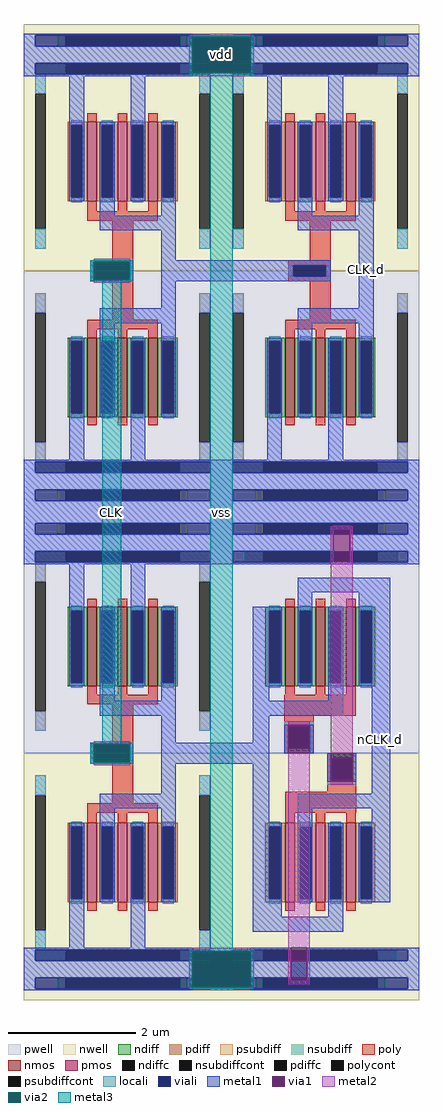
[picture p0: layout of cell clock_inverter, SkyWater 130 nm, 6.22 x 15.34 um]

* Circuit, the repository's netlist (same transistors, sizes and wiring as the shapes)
**.subckt clock_inverter CLK vdd vss nCLK_d CLK_d
*.ipin CLK
*.iopin vdd
*.iopin vss
*.opin nCLK_d
*.opin CLK_d
x5 vdd nCLK_d net1 vss trans_gate
x1 vdd CLK_d net2 vss inverter_cp_x1
x2 vdd net2 CLK vss inverter_cp_x1
x3 vdd net1 CLK vss inverter_cp_x1
**.ends

* expanding   symbol:  trans_gate.sym # of pins=4
* sym_path: /home/dhernando/caravel_analog_fulgor/xschem/trans_gate.sym
* sch_path: /home/dhernando/caravel_analog_fulgor/xschem/trans_gate.sch
.subckt trans_gate  vdd out in vss
*.iopin vss
*.ipin in
*.opin out
*.iopin vdd
XM2 out vss in vdd sky130_fd_pr__pfet_01v8 L=0.15 W=1.25 nf=1 ad='int((nf+1)/2) * W/nf * 0.29' as='int((nf+2)/2) * W/nf * 0.29'
+ pd='2*int((nf+1)/2) * (W/nf + 0.29)' ps='2*int((nf+2)/2) * (W/nf + 0.29)' nrd='0.29 / W' nrs='0.29 / W'
+ sa=0 sb=0 sd=0 mult=3 m=3 
XM1 out vdd in vss sky130_fd_pr__nfet_01v8 L=0.15 W=1.25 nf=1 ad='int((nf+1)/2) * W/nf * 0.29' as='int((nf+2)/2) * W/nf * 0.29'
+ pd='2*int((nf+1)/2) * (W/nf + 0.29)' ps='2*int((nf+2)/2) * (W/nf + 0.29)' nrd='0.29 / W' nrs='0.29 / W'
+ sa=0 sb=0 sd=0 mult=3 m=3 
.ends


* expanding   symbol:  inverter_cp_x1.sym # of pins=4
* sym_path: /home/dhernando/caravel_analog_fulgor/xschem/inverter_cp_x1.sym
* sch_path: /home/dhernando/caravel_analog_fulgor/xschem/inverter_cp_x1.sch
.subckt inverter_cp_x1  vdd out in vss
*.iopin vss
*.ipin in
*.opin out
*.iopin vdd
XM2 out in vdd vdd sky130_fd_pr__pfet_01v8 L=0.15 W=1.25 nf=1 ad='int((nf+1)/2) * W/nf * 0.29' as='int((nf+2)/2) * W/nf * 0.29'
+ pd='2*int((nf+1)/2) * (W/nf + 0.29)' ps='2*int((nf+2)/2) * (W/nf + 0.29)' nrd='0.29 / W' nrs='0.29 / W'
+ sa=0 sb=0 sd=0 mult=3 m=3 
XM1 out in vss vss sky130_fd_pr__nfet_01v8 L=0.15 W=1.25 nf=1 ad='int((nf+1)/2) * W/nf * 0.29' as='int((nf+2)/2) * W/nf * 0.29'
+ pd='2*int((nf+1)/2) * (W/nf + 0.29)' ps='2*int((nf+2)/2) * (W/nf + 0.29)' nrd='0.29 / W' nrs='0.29 / W'
+ sa=0 sb=0 sd=0 mult=3 m=3 
.ends

** flattened .save nodes
.end

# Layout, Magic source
magic
tech sky130A
magscale 1 2
<< metal1 >>
rect 520 2998 530 3028
rect 0 2944 530 2998
rect 520 2914 530 2944
rect 714 2998 724 3028
rect 714 2944 1244 2998
rect 714 2914 724 2944
rect 210 2264 220 2320
rect 334 2264 344 2320
rect 442 2259 848 2325
rect 1054 2070 1100 2523
rect 0 1504 1244 1564
rect 221 804 226 809
rect 210 748 220 804
rect 334 748 344 804
rect 221 743 226 748
rect 478 743 720 809
rect 1094 307 1152 1328
rect 520 124 530 154
rect 0 70 530 124
rect 520 40 530 70
rect 714 124 724 154
rect 714 70 1244 124
rect 714 40 724 70
<< via1 >>
rect 530 2914 714 3028
rect 220 2264 334 2320
rect 220 748 334 804
rect 530 40 714 154
<< metal2 >>
rect 530 3028 714 3038
rect 530 2904 714 2914
rect 220 2320 334 2330
rect 220 2254 334 2264
rect 220 804 334 814
rect 220 738 334 748
rect 530 154 714 164
rect 530 30 714 40
<< via2 >>
rect 530 2914 714 3028
rect 220 2264 334 2320
rect 220 748 334 804
rect 530 40 714 154
<< metal3 >>
rect 520 3028 724 3033
rect 520 2914 530 3028
rect 714 2914 724 3028
rect 520 2909 724 2914
rect 210 2320 344 2325
rect 210 2264 220 2320
rect 334 2264 344 2320
rect 210 2259 344 2264
rect 247 809 307 2259
rect 210 804 344 809
rect 210 748 220 804
rect 334 748 344 804
rect 210 743 344 748
rect 586 159 658 2909
rect 520 154 724 159
rect 520 40 530 154
rect 714 40 724 154
rect 520 35 724 40
use trans_gate  trans_gate_0
transform 1 0 675 0 -1 723
box -53 -811 569 723
use inverter_cp_x1  inverter_cp_x1_1
transform 1 0 0 0 1 2292
box 0 -758 622 776
use inverter_cp_x1  inverter_cp_x1_2
transform 1 0 622 0 1 2292
box 0 -758 622 776
use inverter_cp_x1  inverter_cp_x1_0
transform 1 0 0 0 -1 776
box 0 -758 622 776
<< labels >>
rlabel metal1 0 1504 1244 1564 1 vss
rlabel metal1 0 2944 1244 2998 1 vdd
rlabel metal3 247 1504 307 1564 1 CLK
rlabel metal1 1054 2070 1100 2523 1 CLK_d
rlabel metal1 1094 307 1152 1328 1 nCLK_d
<< end >>

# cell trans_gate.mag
magic
tech sky130A
magscale 1 2
<< nwell >>
rect -53 635 569 723
rect -53 -53 569 -47
<< pwell >>
rect -53 -64 569 -53
rect -53 -811 569 -723
<< psubdiff >>
rect 55 -775 79 -741
rect 437 -775 461 -741
<< nsubdiff >>
rect 55 653 79 687
rect 437 653 461 687
<< psubdiffcont >>
rect 79 -775 437 -741
<< nsubdiffcont >>
rect 79 653 437 687
<< poly >>
rect 147 69 371 135
rect 279 31 371 69
rect 279 -37 291 31
rect 359 -37 371 31
rect 279 -53 371 -37
rect 145 -69 237 -53
rect 145 -137 157 -69
rect 225 -137 237 -69
rect 145 -171 237 -137
rect 145 -237 369 -171
<< polycont >>
rect 291 -37 359 31
rect 157 -137 225 -69
<< locali >>
rect 279 31 371 47
rect 279 -37 291 31
rect 359 -37 371 31
rect 279 -53 371 -37
rect 145 -69 237 -53
rect 145 -137 157 -69
rect 225 -137 237 -69
rect 145 -153 237 -137
<< viali >>
rect -17 653 79 687
rect 79 653 437 687
rect 437 653 533 687
rect -17 565 533 599
rect 291 -37 359 31
rect 157 -137 225 -69
rect -17 -687 533 -653
rect -17 -775 79 -741
rect 79 -775 437 -741
rect 437 -775 533 -741
<< metal1 >>
rect -53 687 569 693
rect -53 653 -17 687
rect 533 653 569 687
rect -53 599 165 653
rect 217 599 569 653
rect -53 565 -17 599
rect 533 565 569 599
rect -53 559 165 565
rect 217 559 569 565
rect 45 462 329 508
rect 45 404 137 462
rect 283 404 329 462
rect 45 -171 97 404
rect 425 183 477 416
rect 187 120 233 178
rect 419 120 477 183
rect 187 74 477 120
rect 279 -53 291 37
rect 359 -53 371 37
rect 145 -143 157 -53
rect 225 -143 237 -53
rect 45 -217 329 -171
rect 45 -341 97 -217
rect 283 -263 329 -217
rect 45 -513 91 -341
rect 419 -343 477 74
rect 425 -455 477 -343
rect 419 -501 477 -455
rect 187 -559 233 -513
rect 379 -559 477 -501
rect 187 -605 477 -559
rect -53 -653 569 -647
rect -53 -687 -17 -653
rect 533 -687 569 -653
rect -53 -741 299 -687
rect 351 -741 569 -687
rect -53 -775 -17 -741
rect 533 -775 569 -741
rect -53 -781 569 -775
<< via1 >>
rect 165 653 217 663
rect 165 599 217 653
rect 165 565 217 599
rect 165 559 217 565
rect 291 31 359 37
rect 291 -37 359 31
rect 291 -53 359 -37
rect 157 -69 225 -53
rect 157 -137 225 -69
rect 157 -143 225 -137
rect 299 -687 351 -653
rect 299 -741 351 -687
rect 299 -757 351 -741
<< metal2 >>
rect 157 663 225 673
rect 157 559 165 663
rect 217 559 225 663
rect 157 -53 225 559
rect 157 -153 225 -143
rect 291 37 359 47
rect 291 -653 359 -53
rect 291 -757 299 -653
rect 351 -757 359 -653
rect 291 -766 359 -757
rect 299 -767 351 -766
use sky130_fd_pr__pfet_01v8_4798MH  sky130_fd_pr__pfet_01v8_4798MH_0
transform 1 0 258 0 1 291
box -311 -338 311 344
use sky130_fd_pr__nfet_01v8_BHR94T  sky130_fd_pr__nfet_01v8_BHR94T_0
transform 1 0 258 0 1 -388
box -311 -335 311 324
<< labels >>
rlabel metal1 217 599 569 653 1 vdd
rlabel metal1 -53 -741 299 -687 1 vss
rlabel space 419 -605 477 416 1 out
rlabel space 45 -513 97 508 1 in
<< end >>

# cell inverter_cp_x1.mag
magic
tech sky130A
magscale 1 2
<< nwell >>
rect 0 688 622 776
<< pwell >>
rect 2 -669 622 -626
rect 0 -721 622 -669
rect 2 -722 622 -721
rect 0 -758 622 -722
<< psubdiff >>
rect 108 -722 132 -688
rect 490 -722 514 -688
<< nsubdiff >>
rect 108 706 132 740
rect 490 706 514 740
<< psubdiffcont >>
rect 132 -722 490 -688
<< nsubdiffcont >>
rect 132 706 490 740
<< poly >>
rect 278 33 344 188
rect 210 17 344 33
rect 210 -17 226 17
rect 328 -17 344 17
rect 210 -33 344 -17
rect 278 -184 344 -33
<< polycont >>
rect 226 -17 328 17
<< locali >>
rect 210 -17 226 17
rect 328 -17 344 17
<< viali >>
rect 36 706 132 740
rect 132 706 490 740
rect 490 706 586 740
rect 36 618 586 652
rect 226 -17 328 17
rect 36 -634 586 -600
rect 36 -722 132 -688
rect 132 -722 490 -688
rect 490 -722 586 -688
<< metal1 >>
rect 0 740 622 746
rect 0 706 36 740
rect 586 706 622 740
rect 0 652 622 706
rect 0 618 36 652
rect 586 618 622 652
rect 0 612 622 618
rect 144 469 190 612
rect 336 469 382 612
rect 240 173 286 231
rect 432 173 478 222
rect 240 127 478 173
rect 210 17 344 33
rect 210 -17 226 17
rect 328 -17 344 17
rect 210 -33 344 -17
rect 432 -118 478 127
rect 240 -164 478 -118
rect 240 -210 286 -164
rect 432 -210 478 -164
rect 144 -594 190 -455
rect 336 -594 382 -451
rect 0 -600 622 -594
rect 0 -634 36 -600
rect 586 -634 622 -600
rect 0 -688 622 -634
rect 0 -722 36 -688
rect 586 -722 622 -688
rect 0 -728 622 -722
use sky130_fd_pr__pfet_01v8_7KT7MH  sky130_fd_pr__pfet_01v8_7KT7MH_0
transform 1 0 311 0 1 344
box -311 -344 311 344
use sky130_fd_pr__nfet_01v8_2BS6QM  sky130_fd_pr__nfet_01v8_2BS6QM_0
transform 1 0 311 0 1 -335
box -311 -335 311 335
<< labels >>
rlabel metal1 0 652 622 706 1 vdd
rlabel metal1 0 -688 622 -634 1 vss
rlabel metal1 210 -33 226 33 1 in
rlabel metal1 432 -210 478 222 1 out
<< end >>

# cell sky130_fd_pr__pfet_01v8_7KT7MH: kit device sky130_fd_pr__pfet_01v8, w 1.25 l 0.15 m 1 nf 3 diffcov 100 polycov 100 guard 1 glc 1 grc 1 gtc 1 gbc 0 tbcov 100 rlcov 100 topc 0 botc 1 poverlap 0 doverlap 1 lmin 0.15 wmin 0.42 compatible {sky130_fd_pr__pfet_01v8 sky130_fd_pr__pfet_01v8_lvt sky130_fd_pr__pfet_01v8_hvt sky130_fd_pr__pfet_g5v0d10v5} full_metal 1 viasrc 100 viadrn 100 viagate 100 viagb 0 viagr 0 viagl 0 viagt 0

# cell sky130_fd_pr__nfet_01v8_2BS6QM: kit device sky130_fd_pr__nfet_01v8, w 1.25 l 0.150 m 1 nf 3 diffcov 100 polycov 100 guard 1 glc 1 grc 1 gtc 0 gbc 1 tbcov 100 rlcov 100 topc 1 botc 0 poverlap 0 doverlap 1 lmin 0.15 wmin 0.42 compatible {sky130_fd_pr__nfet_01v8 sky130_fd_pr__nfet_01v8_lvt sky130_fd_bs_flash__special_sonosfet_star sky130_fd_pr__nfet_g5v0d10v5 sky130_fd_pr__nfet_05v0_nvt sky130_fd_pr__nfet_03v3_nvt} full_metal 1 viasrc 100 viadrn 100 viagate 100 viagb 0 viagr 0 viagl 0 viagt 0

# cell sky130_fd_pr__pfet_01v8_4798MH: kit device sky130_fd_pr__pfet_01v8, w 1.25 l 0.15 m 1 nf 3 diffcov 100 polycov 100 guard 1 glc 1 grc 1 gtc 1 gbc 0 tbcov 100 rlcov 100 topc 1 botc 1 poverlap 0 doverlap 1 lmin 0.15 wmin 0.42 compatible {sky130_fd_pr__pfet_01v8 sky130_fd_pr__pfet_01v8_lvt sky130_fd_pr__pfet_01v8_hvt sky130_fd_pr__pfet_g5v0d10v5} full_metal 1 viasrc 100 viadrn 100 viagate 100 viagb 0 viagr 0 viagl 0 viagt 0

# cell sky130_fd_pr__nfet_01v8_BHR94T: kit device sky130_fd_pr__nfet_01v8, w 1.25 l 0.150 m 1 nf 3 diffcov 100 polycov 100 guard 1 glc 1 grc 1 gtc 1 gbc 1 tbcov 100 rlcov 100 topc 1 botc 1 poverlap 0 doverlap 1 lmin 0.15 wmin 0.42 compatible {sky130_fd_pr__nfet_01v8 sky130_fd_pr__nfet_01v8_lvt sky130_fd_bs_flash__special_sonosfet_star sky130_fd_pr__nfet_g5v0d10v5 sky130_fd_pr__nfet_05v0_nvt sky130_fd_pr__nfet_03v3_nvt} full_metal 1 viasrc 100 viadrn 100 viagate 100 viagb 0 viagr 0 viagl 0 viagt 0
